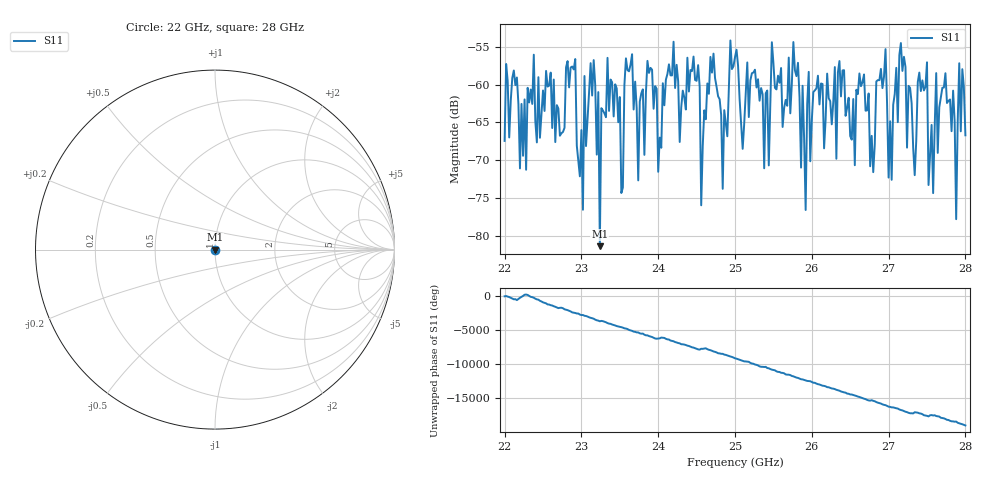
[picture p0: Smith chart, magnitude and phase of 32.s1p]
#  HZ  S  RI  R  50.00
! Rohde & Schwarz ZVA40 4Ports - Version 3.90 - 1145.1110k42 SN: 100403
! Date: 2023-10-04 11:33:50
! Measurement: S12
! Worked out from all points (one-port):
!   301 points, 22 GHz to 28 GHz, reference 50 ohm
!   lowest |S11| = -81.4 dB at 23.24 GHz (marker M1), VSWR 1.00, Z = 50 - j0.00671 ohm
!   |S11| at or under -10 dB: start of sweep to end of sweep
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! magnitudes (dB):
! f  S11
! 22 GHz  -67.4
! 22.76 GHz  -66.3
! 22.92 GHz  -56.6
! 23.02 GHz  -76.5
! 23.04 GHz  -58.9
! 23.16 GHz  -56.7
! 23.22 GHz  -61.0
! 23.24 GHz  -81.4
! 23.34 GHz  -56.5
! 23.5 GHz  -61.6
! 23.52 GHz  -74.3
! 23.58 GHz  -56.5
! 23.74 GHz  -72.7
! 23.86 GHz  -56.9
! 24 GHz  -71.5
! 24.26 GHz  -59.5
! 24.52 GHz  -57.4
! 24.56 GHz  -76.0
! 24.68 GHz  -56.3
! 24.84 GHz  -73.8
! 25 GHz  -56.4
! 25.38 GHz  -71.1
! 25.76 GHz  -54.4
! 25.92 GHz  -76.6
! 25.96 GHz  -58.3
! 26.5 GHz  -66.8
! 27.26 GHz  -60.2
! 28 GHz  -66.7
